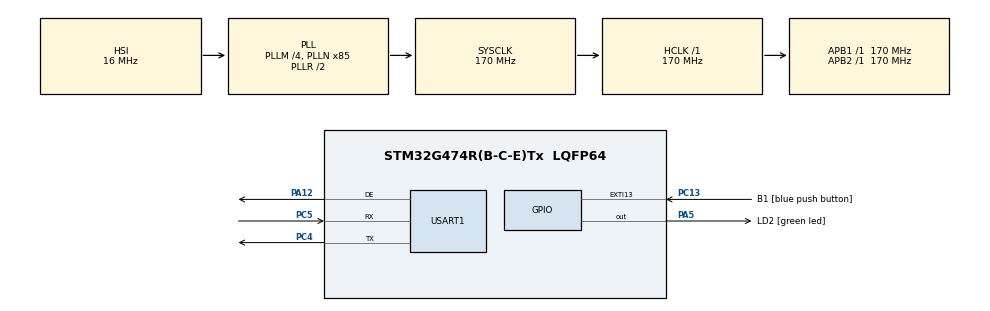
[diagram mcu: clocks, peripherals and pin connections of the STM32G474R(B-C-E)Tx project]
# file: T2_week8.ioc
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Mcu.Family=STM32G4
Mcu.Name=STM32G474R(B-C-E)Tx
Mcu.Package=LQFP64
NVIC.EXTI15_10_IRQn=true\:0\:0\:false\:false\:true\:true\:true\:true
NVIC.PriorityGroup=NVIC_PRIORITYGROUP_4
PA12.Mode=Hardware Flow Control (RS485)
PA12.Signal=USART1_DE
PA13.GPIO_Label=T_SWDIO
PA13.Mode=Serial_Wire
PA13.Signal=SYS_JTMS-SWDIO
PA14.GPIO_Label=T_SWCLK
PA14.Mode=Serial_Wire
PA14.Signal=SYS_JTCK-SWCLK
PA2.GPIO_Label=LPUART1_TX [STLINKV3E_VCP_RX]
PA2.Signal=LPUART1_TX
PA3.GPIO_Label=LPUART1_RX [STLINKV3E_VCP_TX]
PA3.Signal=LPUART1_RX
PA5.GPIO_Label=LD2 [green led]
PA5.Signal=GPIO_Output
PB3.GPIO_Label=T_SWO
PB3.Signal=SYS_JTDO-SWO
PC13.GPIO_Label=B1 [blue push button]
PC13.Signal=GPXTI13
PC14-OSC32_IN.Mode=LSE-External-Oscillator
PC14-OSC32_IN.Signal=RCC_OSC32_IN
PC15-OSC32_OUT.Mode=LSE-External-Oscillator
PC15-OSC32_OUT.Signal=RCC_OSC32_OUT
PC4.Mode=Asynchronous
PC4.Signal=USART1_TX
PC5.Mode=Asynchronous
PC5.Signal=USART1_RX
PF0-OSC_IN.Mode=HSE-External-Oscillator
PF0-OSC_IN.Signal=RCC_OSC_IN
PF1-OSC_OUT.Mode=HSE-External-Oscillator
PF1-OSC_OUT.Signal=RCC_OSC_OUT
ProjectManager.HeapSize=0x200
ProjectManager.StackSize=0x400
ProjectManager.TargetToolchain=STM32CubeIDE
RCC.ADC12Freq_Value=170000000
RCC.ADC345Freq_Value=170000000
RCC.AHBFreq_Value=170000000
RCC.APB1Freq_Value=170000000
RCC.APB1TimFreq_Value=170000000
RCC.APB2Freq_Value=170000000
RCC.APB2TimFreq_Value=170000000
RCC.CortexFreq_Value=170000000
RCC.EXTERNAL_CLOCK_VALUE=12288000
RCC.HCLKFreq_Value=170000000
RCC.HSE_VALUE=24000000
RCC.HSI48_VALUE=48000000
RCC.HSI_VALUE=16000000
RCC.PLLM=RCC_PLLM_DIV4
RCC.PLLN=85
RCC.RTCClockSelection=RCC_RTCCLKSOURCE_LSE
RCC.SYSCLKFreq_VALUE=170000000
RCC.SYSCLKSource=RCC_SYSCLKSOURCE_PLLCLK
RCC.USBFreq_Value=170000000
RCC.VCOOutputFreq_Value=340000000
USART1.VirtualMode-Asynchronous=VM_ASYNC
USART1.VirtualMode-Hardware\ Flow\ Control\ (RS485)=VM_ASYNC
VP_SYS_VS_DBSignals.Mode=DisableDeadBatterySignals
board=NUCLEO-G474RE

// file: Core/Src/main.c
/* USER CODE BEGIN Header */
/**
  ******************************************************************************
  * @file           : main.c
  * @brief          : Main program body
  ******************************************************************************
  * @attention
  *
  * Copyright (c) 2024 STMicroelectronics.
  * All rights reserved.
  *
  * This software is licensed under terms that can be found in the LICENSE file
  * in the root directory of this software component.
  * If no LICENSE file comes with this software, it is provided AS-IS.
  *
  ******************************************************************************
  */
/* USER CODE END Header */
#include "main.h"

UART_HandleTypeDef huart1;

/* USER CODE BEGIN PV */
uint8_t RxBuff[20]; // recieve
uint8_t TxBuff[40]; // send
uint16_t state = 0;
uint8_t text[] = "HELLO FIBO\n";
/* USER CODE END PV */

void SystemClock_Config(void);
static void MX_GPIO_Init(void);
static void MX_USART1_UART_Init(void);

int main(void)
{

  /* MCU Configuration--------------------------------------------------------*/

  /* Reset of all peripherals, Initializes the Flash interface and the Systick. */
  HAL_Init();

  /* Configure the system clock */
  SystemClock_Config();

  /* Initialize all configured peripherals */
  MX_GPIO_Init();
  MX_USART1_UART_Init();
  /* USER CODE BEGIN 2 */

//  HAL_UART_Transmit(&hlpuart1, text, 12, 10);
  UART_con();
  /* USER CODE END 2 */

  /* Infinite loop */
  while (1)
  {

  }
}

void SystemClock_Config(void)
{
  RCC_OscInitTypeDef RCC_OscInitStruct = {0};
  RCC_ClkInitTypeDef RCC_ClkInitStruct = {0};

  /** Configure the main internal regulator output voltage
  */
  HAL_PWREx_ControlVoltageScaling(PWR_REGULATOR_VOLTAGE_SCALE1_BOOST);

  /** Initializes the RCC Oscillators according to the specified parameters
  * in the RCC_OscInitTypeDef structure.
  */
  RCC_OscInitStruct.OscillatorType = RCC_OSCILLATORTYPE_HSI;
  RCC_OscInitStruct.HSIState = RCC_HSI_ON;
  RCC_OscInitStruct.HSICalibrationValue = RCC_HSICALIBRATION_DEFAULT;
  RCC_OscInitStruct.PLL.PLLState = RCC_PLL_ON;
  RCC_OscInitStruct.PLL.PLLSource = RCC_PLLSOURCE_HSI;
  RCC_OscInitStruct.PLL.PLLM = RCC_PLLM_DIV4;
  RCC_OscInitStruct.PLL.PLLN = 85;
  RCC_OscInitStruct.PLL.PLLP = RCC_PLLP_DIV2;
  RCC_OscInitStruct.PLL.PLLQ = RCC_PLLQ_DIV2;
  RCC_OscInitStruct.PLL.PLLR = RCC_PLLR_DIV2;
  if (HAL_RCC_OscConfig(&RCC_OscInitStruct) != HAL_OK)
  {
    Error_Handler();
  }

  /** Initializes the CPU, AHB and APB buses clocks
  */
  RCC_ClkInitStruct.ClockType = RCC_CLOCKTYPE_HCLK|RCC_CLOCKTYPE_SYSCLK
                              |RCC_CLOCKTYPE_PCLK1|RCC_CLOCKTYPE_PCLK2;
  RCC_ClkInitStruct.SYSCLKSource = RCC_SYSCLKSOURCE_PLLCLK;
  RCC_ClkInitStruct.AHBCLKDivider = RCC_SYSCLK_DIV1;
  RCC_ClkInitStruct.APB1CLKDivider = RCC_HCLK_DIV1;
  RCC_ClkInitStruct.APB2CLKDivider = RCC_HCLK_DIV1;

  if (HAL_RCC_ClockConfig(&RCC_ClkInitStruct, FLASH_LATENCY_4) != HAL_OK)
  {
    Error_Handler();
  }
}

static void MX_USART1_UART_Init(void)
{

  huart1.Instance = USART1;
  huart1.Init.BaudRate = 115200;
  huart1.Init.WordLength = UART_WORDLENGTH_8B;
  huart1.Init.StopBits = UART_STOPBITS_1;
  huart1.Init.Parity = UART_PARITY_NONE;
  huart1.Init.Mode = UART_MODE_TX_RX;
  huart1.Init.HwFlowCtl = UART_HWCONTROL_NONE;
  huart1.Init.OverSampling = UART_OVERSAMPLING_16;
  huart1.Init.OneBitSampling = UART_ONE_BIT_SAMPLE_DISABLE;
  huart1.Init.ClockPrescaler = UART_PRESCALER_DIV1;
  huart1.AdvancedInit.AdvFeatureInit = UART_ADVFEATURE_NO_INIT;
  if (HAL_RS485Ex_Init(&huart1, UART_DE_POLARITY_HIGH, 0, 0) != HAL_OK)
  {
    Error_Handler();
  }
  if (HAL_UARTEx_SetTxFifoThreshold(&huart1, UART_TXFIFO_THRESHOLD_1_8) != HAL_OK)
  {
    Error_Handler();
  }
  if (HAL_UARTEx_SetRxFifoThreshold(&huart1, UART_RXFIFO_THRESHOLD_1_8) != HAL_OK)
  {
    Error_Handler();
  }
  if (HAL_UARTEx_DisableFifoMode(&huart1) != HAL_OK)
  {
    Error_Handler();
  }

}

static void MX_GPIO_Init(void)
{
  GPIO_InitTypeDef GPIO_InitStruct = {0};

  /* GPIO Ports Clock Enable */
  __HAL_RCC_GPIOC_CLK_ENABLE();
  __HAL_RCC_GPIOF_CLK_ENABLE();
  __HAL_RCC_GPIOA_CLK_ENABLE();
  __HAL_RCC_GPIOB_CLK_ENABLE();

  /*Configure GPIO pin Output Level */
  HAL_GPIO_WritePin(LD2_GPIO_Port, LD2_Pin, GPIO_PIN_RESET);

  /*Configure GPIO pin : B1_Pin */
  GPIO_InitStruct.Pin = B1_Pin;
  GPIO_InitStruct.Mode = GPIO_MODE_IT_RISING;
  GPIO_InitStruct.Pull = GPIO_NOPULL;
  HAL_GPIO_Init(B1_GPIO_Port, &GPIO_InitStruct);

  /*Configure GPIO pins : LPUART1_TX_Pin LPUART1_RX_Pin */
  GPIO_InitStruct.Pin = LPUART1_TX_Pin|LPUART1_RX_Pin;
  GPIO_InitStruct.Mode = GPIO_MODE_AF_PP;
  GPIO_InitStruct.Pull = GPIO_NOPULL;
  GPIO_InitStruct.Speed = GPIO_SPEED_FREQ_LOW;
  GPIO_InitStruct.Alternate = GPIO_AF12_LPUART1;
  HAL_GPIO_Init(GPIOA, &GPIO_InitStruct);

  /*Configure GPIO pin : LD2_Pin */
  GPIO_InitStruct.Pin = LD2_Pin;
  GPIO_InitStruct.Mode = GPIO_MODE_OUTPUT_PP;
  GPIO_InitStruct.Pull = GPIO_NOPULL;
  GPIO_InitStruct.Speed = GPIO_SPEED_FREQ_LOW;
  HAL_GPIO_Init(LD2_GPIO_Port, &GPIO_InitStruct);

  /* EXTI interrupt init*/
  HAL_NVIC_SetPriority(EXTI15_10_IRQn, 0, 0);
  HAL_NVIC_EnableIRQ(EXTI15_10_IRQn);

}

/* USER CODE BEGIN 4 */
void UART_con()
{
	HAL_UART_Receive_IT(&huart1, RxBuff, 10);
//	HAL_UART_Receive_DMA(&hlpuart1, RxBuff, 10);

}
void HAL_GPIO_EXTI_Callback(uint16_t GPIO_Pin)
{
//	if(GPIO_Pin == GPIO_PIN_13 && ans != NULL && strcmp(ans, "65") == 0)
//	{
//	HAL_GPIO_TogglePin(GPIOA, GPIO_PIN_5);
//
//}
//	if(GPIO_Pin == GPIO_PIN_5)
//	{
		state += 1;
		HAL_UART_Transmit_IT(&huart1, text,strlen((char *)text));
//	}

}
void Dummy()
{
	static uint32_t timestamp = 0;
	if(HAL_GetTick()>= timestamp)
	{
		timestamp = HAL_GetTick()+ 100;
		HAL_GPIO_TogglePin(LD2_GPIO_Port,LD2_Pin);
	}

}
void HAL_UART_RxCpltCallback(UART_HandleTypeDef *huart)
{
	if (huart == &huart1)
	{
//		 IT
		RxBuff[10] = '\0';
		sprintf((char *)TxBuff,"Rab : %s\r\n",RxBuff);
		HAL_UART_Transmit_IT(&huart1, TxBuff,strlen((char *)TxBuff));

		HAL_UART_Receive_IT(&huart1, RxBuff, 10);

		// DMA
//		RxBuff[10] = '\0';
//		sprintf((char *)TxBuff,"Rab : %s\r\n",RxBuff);
//		HAL_UART_Transmit_DMA(&hlpuart1, TxBuff,strlen((char *)TxBuff));

	}
}
/* USER CODE END 4 */

void Error_Handler(void)
{
  __disable_irq();
  while (1)
  {
  }
}
